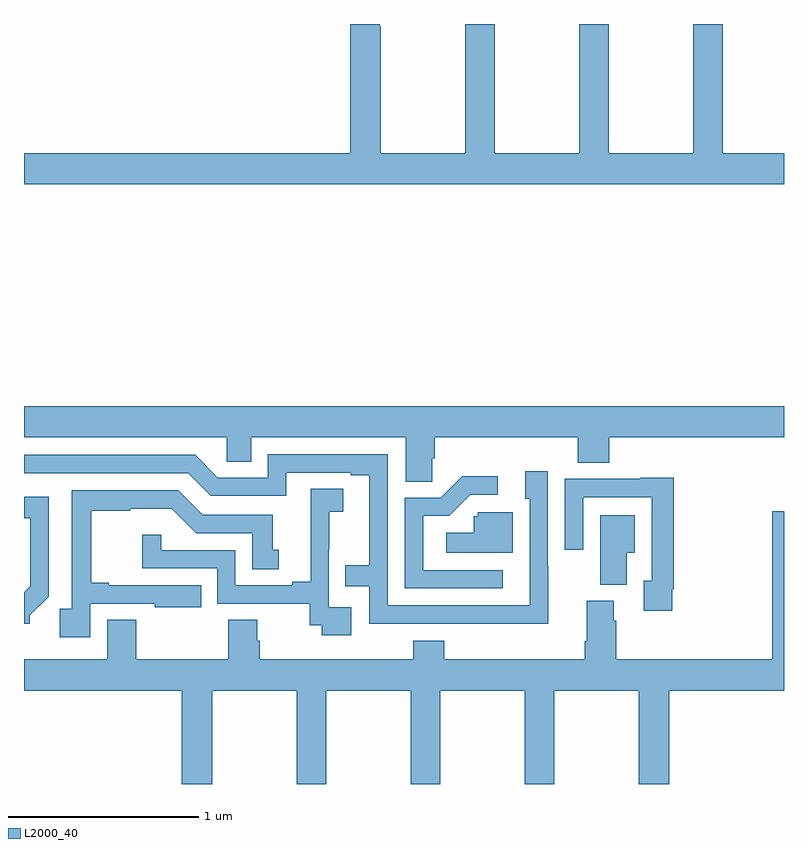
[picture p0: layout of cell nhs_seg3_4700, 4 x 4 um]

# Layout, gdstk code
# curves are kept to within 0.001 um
import gdstk
lib = gdstk.Library(unit=1e-6, precision=1e-09)
def P(c, l, *ps):  # polygons
    for p in ps: c.add(gdstk.Polygon(p, *l))
L2000_40 = (2000, 40)

nhs_seg3_4700 = lib.new_cell('nhs_seg3_4700')
P(nhs_seg3_4700, L2000_40, [(367,727.72),(366.678,727.72),(366.678,728.4),(366.523,728.4),(366.523,727.72),(366.078,727.72),(366.078,728.4),(365.923,728.4),(365.923,727.72),(365.478,727.72),(365.478,728.4),(365.323,728.4),(365.323,727.72),(364.878,727.72),(364.878,728.387),(364.873,728.387),(364.873,728.4),(364.718,728.4),(364.718,727.72),(363,727.72),(363,727.556),(367,727.556)],
  [(365.148,726.115),(365.162,726.115),(365.162,726.224),(365.915,726.224),(365.915,726.091),(366.08,726.091),(366.08,726.224),(367,726.224),(367,726.388),(363,726.388),(363,726.224),(364.068,726.224),(364.068,726.097),(364.195,726.097),(364.195,726.224),(365.009,726.224),(365.009,725.992),(365.148,725.992)],
  [(365.759,725.546),(365.757,725.546),(365.757,726.046),(365.639,726.046),(365.639,725.901),(365.661,725.901),(365.661,725.34),(364.914,725.34),(364.914,726.135),(364.284,726.135),(364.284,726.012),(364.02,726.012),(363.9,726.132),(363,726.132),(363,726.036),(363.864,726.036),(363.984,725.916),(364.38,725.916),(364.38,726.039),(364.721,726.039),(364.721,726.024),(364.817,726.024),(364.817,725.551),(364.69,725.551),(364.69,725.442),(364.818,725.442),(364.818,725.244),(365.759,725.243)],
  [(365.521,725.526),(365.1,725.526),(365.1,725.811),(365.238,725.811),(365.349,725.922),(365.494,725.922),(365.494,726.02),(365.306,726.02),(365.193,725.907),(365.004,725.907),(365.004,725.43),(365.521,725.43)],
  [(366.412,725.425),(366.419,725.425),(366.419,726.013),(366.243,726.013),(366.243,726.006),(365.847,726.006),(365.847,725.634),(365.943,725.634),(365.943,725.91),(366.303,725.91),(366.303,725.469),(366.263,725.469),(366.263,725.313),(366.412,725.313)],
  [(364.723,725.331),(364.605,725.331),(364.605,725.635),(364.607,725.635),(364.607,725.833),(364.681,725.833),(364.681,725.954),(364.51,725.954),(364.51,725.843),(364.508,725.843),(364.508,725.465),(364.412,725.465),(364.412,725.445),(364.113,725.445),(364.113,725.631),(363.723,725.631),(363.723,725.713),(363.622,725.713),(363.622,725.535),(364.017,725.535),(364.017,725.349),(364.504,725.349),(364.504,725.235),(364.567,725.235),(364.567,725.184),(364.723,725.184)],
  [(363.348,725.349),(363.689,725.349),(363.689,725.33),(363.932,725.33),(363.932,725.445),(363.445,725.445),(363.445,725.458),(363.353,725.458),(363.353,725.838),(363.56,725.838),(363.56,725.849),(363.778,725.849),(363.906,725.721),(364.202,725.721),(364.202,725.53),(364.342,725.53),(364.342,725.634),(364.309,725.634),(364.309,725.817),(363.942,725.817),(363.813,725.946),(363.252,725.946),(363.252,725.323),(363.187,725.323),(363.187,725.172),(363.348,725.172)],
  [(363.03,725.287),(363.129,725.386),(363.129,725.911),(363,725.911),(363,725.798),(363.032,725.798),(363.032,725.441),(363,725.409),(363,725.243),(363.03,725.243)],
  [(363.99,724.892),(364.435,724.892),(364.435,724.4),(364.59,724.4),(364.59,724.892),(365.035,724.892),(365.035,724.4),(365.19,724.4),(365.19,724.892),(365.635,724.892),(365.635,724.4),(365.79,724.4),(365.79,724.892),(366.235,724.892),(366.235,724.4),(366.395,724.4),(366.395,724.892),(367,724.892),(367,725.836),(366.938,725.836),(366.938,725.056),(366.116,725.056),(366.116,725.258),(366.103,725.258),(366.103,725.364),(365.963,725.364),(365.963,725.152),(365.951,725.152),(365.951,725.056),(365.213,725.056),(365.213,725.155),(365.048,725.155),(365.048,725.056),(364.241,725.056),(364.241,725.154),(364.228,725.154),(364.228,725.264),(364.076,725.264),(364.076,725.056),(363.59,725.056),(363.59,725.264),(363.437,725.264),(363.437,725.056),(363,725.056),(363,724.892),(363.83,724.892),(363.83,724.4),(363.99,724.4)],
  [(365.572,725.829),(365.388,725.829),(365.388,725.808),(365.367,725.808),(365.367,725.722),(365.223,725.722),(365.223,725.618),(365.572,725.618)],
  [(366.172,725.618),(366.214,725.618),(366.214,725.815),(366.032,725.815),(366.032,725.449),(366.172,725.449)])

lib.write_gds('nhs_seg3_4700.gds')
